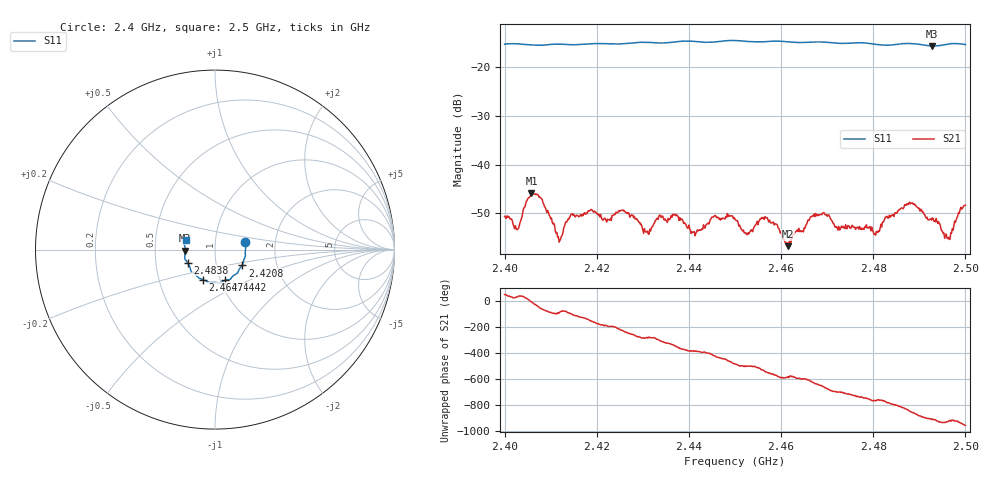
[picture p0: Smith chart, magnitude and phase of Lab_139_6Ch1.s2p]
# Hz S RI R 50
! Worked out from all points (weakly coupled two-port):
!   601 points, 2.4 GHz to 2.5 GHz, reference 50 ohm
!   highest |S21| = -45.88 dB at 2.4058 GHz (marker M1); lowest = -56.7 dB at 2.4615 GHz (marker M2)
!   lowest |S11| = -15.6 dB at 2.4928 GHz (marker M3), VSWR 1.40, Z = 35.8 - j0.376 ohm
!   |S11| at or under -10 dB: start of sweep to end of sweep
!   S12 and S22 are empty: the file has one direction only
!   S11 on the Smith chart (normalised r, x): 2.4 GHz: 1.40, +0.12; 2.4208 GHz: 1.33, -0.24; 2.4442 GHz: 1.05, -0.37; 2.4647 GHz: 0.83, -0.29; 2.4838 GHz: 0.73, -0.11; 2.5 GHz: 0.72, +0.08
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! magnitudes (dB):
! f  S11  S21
! 2.4 GHz  -15.2  -50.6
! 2.4027 GHz  -15.2  -53.4
! 2.4058 GHz  -15.4  -45.9
! 2.412 GHz  -15.2  -55.5
! 2.4167 GHz  -15.3  -50.6
! 2.4208 GHz  -15.1  -50.2
! 2.431 GHz  -14.9  -53.6
! 2.4333 GHz  -15.0  -51.2
! 2.4442 GHz  -14.9  -52.0
! 2.45 GHz  -14.5  -51.2
! 2.4525 GHz  -14.7  -54.3
! 2.457 GHz  -14.7  -50.9
! 2.4615 GHz  -14.8  -56.7
! 2.4647 GHz  -14.9  -53.6
! 2.4667 GHz  -14.8  -50.7
! 2.4805 GHz  -15.3  -54.5
! 2.4833 GHz  -15.4  -50.9
! 2.4838 GHz  -15.4  -50.5
! 2.4883 GHz  -15.1  -48.0
! 2.4928 GHz  -15.6  -50.9
! 2.4965 GHz  -15.2  -55.4
! 2.5 GHz  -15.3  -48.3
